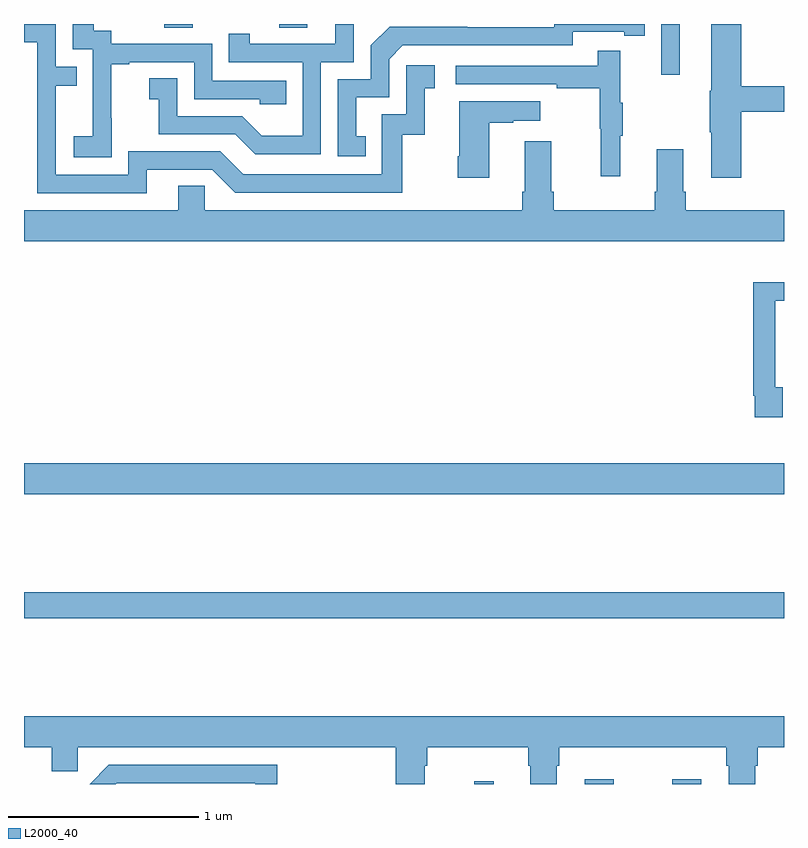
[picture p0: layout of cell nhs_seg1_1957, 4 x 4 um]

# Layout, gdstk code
import gdstk
lib = gdstk.Library(unit=1e-6, precision=1e-09)
def R(c, l, rs):  # rectangles x0, y0, x1, y1
    for r in rs: c.add(gdstk.rectangle(r[:2], r[2:], *l))
def P(c, l, *ps):  # polygons
    for p in ps: c.add(gdstk.Polygon(p, *l))
L2000_40 = (2000, 40)

nhs_seg1_1957 = lib.new_cell('nhs_seg1_1957')
R(nhs_seg1_1957, L2000_40, [(219.37,558.199,219.473,558.214), (219.95,558.199,220.104,558.223), (220.411,558.199,220.564,558.223), (217,559.072,221,559.208), (217,559.724,221,559.888), (220.353,561.933,220.45,562.199), (217.739,562.18,217.887,562.199), (218.344,562.18,218.491,562.199)])
P(nhs_seg1_1957, L2000_40, [(217.461,561.703),(217.46,561.703),(217.46,561.987),(217.555,561.987),(217.555,561.999),(217.896,561.999),(217.896,561.804),(218.241,561.804),(218.241,561.777),(218.381,561.777),(218.381,561.9),(217.992,561.9),(217.992,562.095),(217.458,562.095),(217.458,562.164),(217.366,562.164),(217.366,562.199),(217.257,562.199),(217.257,562.065),(217.362,562.065),(217.362,561.836),(217.361,561.836),(217.361,561.607),(217.263,561.607),(217.263,561.497),(217.461,561.497)],
  [(218.798,561.609),(218.749,561.609),(218.749,561.813),(218.922,561.813),(218.922,562.014),(218.994,562.086),(219.888,562.086),(219.888,562.158),(220.16,562.158),(220.16,562.138),(220.268,562.138),(220.268,562.199),(219.792,562.199),(219.792,562.182),(219.332,562.182),(219.332,562.184),(218.924,562.184),(218.826,562.086),(218.826,561.909),(218.652,561.909),(218.652,561.504),(218.798,561.504)],
  [(218.562,561.999),(218.736,561.999),(218.736,562.199),(218.639,562.199),(218.639,562.095),(218.188,562.095),(218.188,562.147),(218.077,562.147),(218.077,561.999),(218.466,561.999),(218.466,561.61),(218.252,561.61),(218.148,561.714),(217.806,561.714),(217.806,561.913),(217.659,561.913),(217.659,561.803),(217.708,561.803),(217.708,561.618),(218.111,561.618),(218.216,561.513),(218.562,561.513)],
  [(217.645,561.432),(217.992,561.432),(218.112,561.312),(218.992,561.312),(218.992,561.615),(219.11,561.615),(219.11,561.861),(219.163,561.861),(219.163,561.982),(219.012,561.982),(219.012,561.723),(218.883,561.723),(218.883,561.408),(218.154,561.408),(218.034,561.528),(217.548,561.528),(217.548,561.405),(217.167,561.405),(217.167,561.874),(217.277,561.874),(217.277,561.975),(217.167,561.975),(217.167,562.199),(217,562.199),(217,562.104),(217.071,562.104),(217.071,561.309),(217.645,561.309)],
  [(220.775,561.736),(221,561.736),(221,561.872),(220.775,561.872),(220.775,562.199),(220.616,562.199),(220.616,561.849),(220.609,561.849),(220.609,561.628),(220.616,561.628),(220.616,561.39),(220.775,561.39)],
  [(220.139,561.611),(220.15,561.611),(220.15,561.785),(220.139,561.785),(220.139,562.057),(220.021,562.057),(220.021,561.978),(219.273,561.978),(219.273,561.882),(219.805,561.882),(219.805,561.862),(220.029,561.862),(220.029,561.648),(220.036,561.648),(220.036,561.399),(220.139,561.399)],
  [(219.448,561.679),(219.575,561.679),(219.575,561.689),(219.718,561.689),(219.718,561.793),(219.29,561.793),(219.29,561.502),(219.283,561.502),(219.283,561.39),(219.448,561.39)],
  [(221,561.22),(220.484,561.22),(220.484,561.316),(220.471,561.316),(220.471,561.541),(220.331,561.541),(220.331,561.316),(220.319,561.316),(220.319,561.22),(219.788,561.22),(219.788,561.316),(219.775,561.316),(219.775,561.583),(219.635,561.583),(219.635,561.316),(219.623,561.316),(219.623,561.22),(217.95,561.22),(217.95,561.347),(217.811,561.347),(217.811,561.22),(217,561.22),(217,561.056),(221,561.056)],
  [(220.993,560.286),(220.953,560.286),(220.953,560.742),(221,560.742),(221,560.84),(220.837,560.84),(220.837,560.242),(220.845,560.242),(220.845,560.13),(220.993,560.13)],
  [(219.109,558.296),(219.122,558.296),(219.122,558.392),(219.653,558.392),(219.653,558.296),(219.665,558.296),(219.665,558.199),(219.805,558.199),(219.805,558.296),(219.818,558.296),(219.818,558.392),(220.697,558.392),(220.697,558.296),(220.709,558.296),(220.709,558.199),(220.849,558.199),(220.849,558.296),(220.862,558.296),(220.862,558.392),(221,558.392),(221,558.556),(217,558.556),(217,558.392),(217.145,558.392),(217.145,558.265),(217.284,558.265),(217.284,558.392),(218.957,558.392),(218.957,558.199),(219.109,558.199)],
  [(217.488,558.204),(218.217,558.204),(218.217,558.199),(218.333,558.199),(218.333,558.3),(217.446,558.3),(217.345,558.199),(217.483,558.199)])

lib.write_gds('nhs_seg1_1957.gds')
